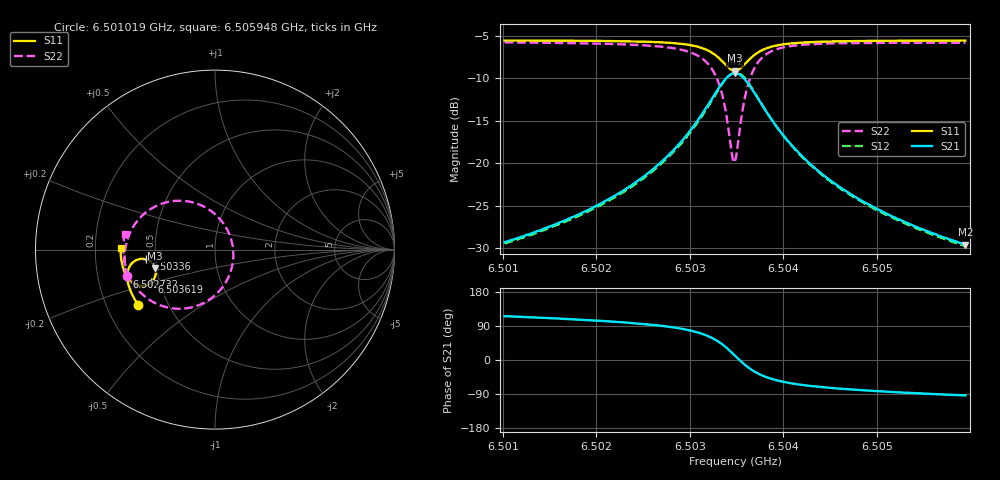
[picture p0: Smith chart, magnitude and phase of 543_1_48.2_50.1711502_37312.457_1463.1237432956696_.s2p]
#  HZ  S  RI  R  50.00
! Rohde & Schwarz Vector Network Analyzer
! Rohde-Schwarz,ZNB20-2Port,1311601062101988,3.16
! Created: UTC 3/20/2024, 12:00:21 PM
! freq[Hz]  re:S11  im:S11  re:S21  im:S21  re:S12  im:S12  re:S22  im:S22
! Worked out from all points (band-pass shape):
!   401 points, 6.501019 GHz to 6.505948 GHz, reference 50 ohm
!   highest |S21| = -9.42 dB at 6.503483 GHz (marker M1); lowest = -29.6 dB at 6.505948 GHz (marker M2)
!   |S21| within 3 dB of the highest: 6.503237 GHz to 6.50373 GHz (492.4 kHz wide, 0.00757 % of centre)
!   lowest |S11| = -9.1 dB at 6.503483 GHz (marker M3), VSWR 2.07, Z = 24.5 - j5.84 ohm
!   |S11| at or under -10 dB: nowhere
!   |S22| runs from -19.9 to -5.8 dB; largest |S21 - S12| = 0.011
!   S11 on the Smith chart (normalised r, x): 6.501019 GHz: 0.34, -0.29; 6.502732 GHz: 0.33, -0.14; 6.50336 GHz: 0.44, -0.06; 6.503619 GHz: 0.45, -0.19; 6.505948 GHz: 0.31, +0.01
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6.5010193e9  -0.4291 -0.3061  -0.0148 0.0308  -0.0131 0.0309  -0.4913 -0.1494
6.5018448e9  -0.4643 -0.2444  -0.0141 0.0488  -0.0118 0.0484  -0.5034 -0.0607
6.502276e9  -0.4793 -0.2059  -0.0113 0.0671  -0.00837 0.0662  -0.5004 0.0011
6.5026703e9  -0.4886 -0.162  -0.00166 0.0986  0.0018 0.0963  -0.4793 0.0807
6.5027319e9  -0.489 -0.1536  0.00159 0.106  0.00516 0.1033  -0.4723 0.0969
6.5029537e9  -0.4856 -0.1186  0.0234 0.1412  0.027 0.137  -0.4267 0.1677
6.5031138e9  -0.4711 -0.0864  0.0627 0.1772  0.0653 0.1715  -0.3504 0.2311
6.5032617e9  -0.4335 -0.0565  0.1441 0.2061  0.1447 0.2001  -0.202 0.2725
6.5033602e9  -0.3871 -0.0536  0.2354 0.1897  0.2354 0.1854  -0.0444 0.2301
6.5034465e9  -0.3442 -0.0824  0.3137 0.1154  0.3161 0.1117  0.0808 0.0841
6.5034711e9  -0.336 -0.0967  0.327 0.0836  0.3305 0.0793  0.0979 0.0241
6.5034834e9  -0.3332 -0.1045  0.3316 0.0666  0.3351 0.0619  0.1017 -0.00738
6.5035081e9  -0.3301 -0.1208  0.3349 0.0321  0.3391 0.0259  0.0995 -0.0705
6.503545e9  -0.3322 -0.1447  0.3278 -0.0181  0.3315 -0.0262  0.0725 -0.1594
6.503619e9  -0.3543 -0.182  0.2813 -0.0944  0.2815 -0.1054  -0.0372 -0.2824
6.5037299e9  -0.4 -0.202  0.1944 -0.1398  0.1895 -0.1494  -0.2128 -0.3292
6.50389e9  -0.4471 -0.1926  0.1106 -0.1361  0.1038 -0.1412  -0.3637 -0.2809
6.5040625e9  -0.4752 -0.1712  0.0649 -0.1151  0.059 -0.1175  -0.4373 -0.2145
6.5043089e9  -0.4962 -0.1413  0.0347 -0.0899  0.0297 -0.0906  -0.4813 -0.1411
6.5046785e9  -0.5118 -0.1023  0.0152 -0.0662  0.012 -0.0658  -0.504 -0.0657
6.5051344e9  -0.5213 -0.0596  0.00519 -0.0491  0.00301 -0.0485  -0.5104 0.000123
6.5059476e9  -0.5263 0.0096  -0.00194 -0.033  -0.00335 -0.0322  -0.503 0.0872
